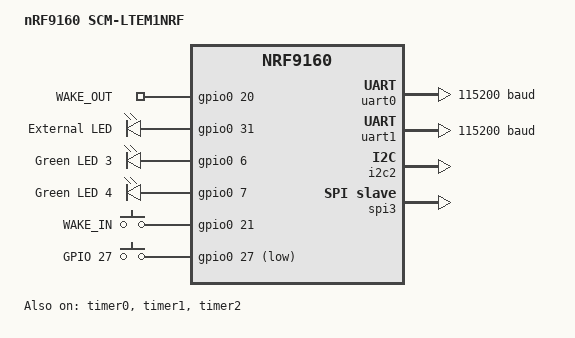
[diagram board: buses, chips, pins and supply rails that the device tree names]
/*
 * Copyright (c) 2018-2020 Nordic Semiconductor ASA
 *
 * SPDX-License-Identifier: Apache-2.0
 */
#include "scm-ltem1nrf_nrf9160_common-pinctrl.dtsi"

/ {
	model = "nRF9160 SCM-LTEM1NRF";
	compatible = "nordic,scm-ltem1nrf-nrf9160";

	chosen {
		zephyr,console = &uart0;
		zephyr,shell-uart = &uart0;
		zephyr,uart-mcumgr = &uart0;
	};

	leds {
		compatible = "gpio-leds";
		led0: led_0 {
			gpios = <&gpio0 20 0>;
			label = "WAKE_OUT";
		};
		led1: led_1 {
			gpios = <&gpio0 31 0>;
			label = "External LED";
		};
		led2: led_2 {
			gpios = <&gpio0 6 0>;
			label = "Green LED 3";
		};
		led3: led_3 {
			gpios = <&gpio0 7 0>;
			label = "Green LED 4";
		};
	};

	buttons {
		compatible = "gpio-keys";
		button0: button_0 {
			gpios = <&gpio0 21 (GPIO_PULL_DOWN | GPIO_ACTIVE_HIGH)>;
			label = "WAKE_IN";
		};

		button2: button_2 {
			gpios = <&gpio0 27 (GPIO_PULL_UP | GPIO_ACTIVE_LOW)>;
			label = "GPIO 27";
		};
	};

	/* These aliases are provided for compatibility with samples */
	aliases {
		led0 = &led0;
		led1 = &led1;
		led2 = &led2;
		led3 = &led3;
		sw0 = &button2;
		sw2 = &button0;
	};
};

&gpiote {
	status = "okay";
};

&gpio0 {
	status = "okay";
};

&uart0 {
	status = "okay";
	current-speed = <115200>;
	pinctrl-0 = <&uart0_default>;
	pinctrl-1 = <&uart0_sleep>;
	pinctrl-names = "default", "sleep";
};

&uart1 {
	status = "okay";
	current-speed = <115200>;
	pinctrl-0 = <&uart0_default>;
	pinctrl-1 = <&uart0_sleep>;
	pinctrl-names = "default", "sleep";
};

&i2c2 {
	compatible = "nordic,nrf-twis";
	status = "okay";
	pinctrl-0 = <&i2c2_default>;
	pinctrl-1 = <&i2c2_sleep>;
	address-0 = <0x30>;
};

&spi3 {
	compatible = "nordic,nrf-spis";
	status = "okay";
	pinctrl-0 = <&spi3_default>;
	pinctrl-1 = <&spi3_sleep>;
	pinctrl-names = "default", "sleep";
	def-char = <0x20>;
};

&timer0 {
	status = "okay";
};

&timer1 {
	status = "okay";
};

&timer2 {
	status = "okay";
};

&flash0 {

	partitions {
		compatible = "fixed-partitions";
		#address-cells = <1>;
		#size-cells = <1>;

		boot_partition: partition@0 {
			label = "mcuboot";
			reg = <0x00000000 0x10000>;
		};
		slot0_partition: partition@10000 {
			label = "image-0";
		};
		slot0_ns_partition: partition@50000 {
			label = "image-0-nonsecure";
		};
		slot1_partition: partition@80000 {
			label = "image-1";
		};
		slot1_ns_partition: partition@c0000 {
			label = "image-1-nonsecure";
		};
		/* 0xf0000 to 0xf7fff reserved for TF-M partitions */
		storage_partition: partition@f8000 {
			label = "storage";
			reg = <0x000f8000 0x00008000>;
		};
	};
};

/ {

	reserved-memory {
		#address-cells = <1>;
		#size-cells = <1>;
		ranges;

		sram0_s: image_s@20000000 {
			/* Secure image memory */
		};

		sram0_modem: image_modem@20016000 {
			/* Modem (shared) memory */
		};

		sram0_ns: image_ns@20020000 {
			/* Non-Secure image memory */
		};
	};
};

/* Include partition configuration file */
#include "scm-ltem1nrf_nrf9160_partition_conf.dts"
